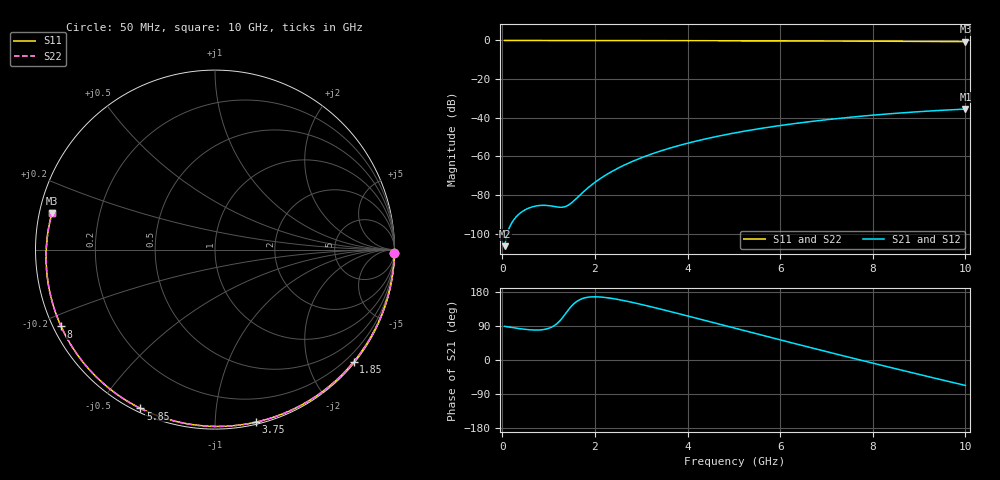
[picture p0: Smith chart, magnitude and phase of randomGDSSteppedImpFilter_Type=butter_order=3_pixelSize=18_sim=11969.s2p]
! freq	dB(S11)	phase(S11)	dB(S12)	phase(S12)
!  dB(S21)	phase(S21)	dB(S22)	phase(S22)
!S-par simulation data
#  GHz  S  DB  R 50
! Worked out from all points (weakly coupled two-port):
!   200 points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, 50 MHz to 10 GHz, reference 50 ohm
!   highest |S21| = -35.49 dB at 10 GHz (marker M1); lowest = -106.4 dB at 50 MHz (marker M2)
!   lowest |S11| = -0.6 dB at 10 GHz (marker M3), VSWR 27.94, Z = 1.81 + j5.49 ohm
!   |S11| at or under -10 dB: nowhere
!   |S22| runs from -0.6 to 0.0 dB; largest |S21 - S12| = 0
!   S11 on the Smith chart (normalised r, x): 50 MHz: open; 1.85 GHz: 0.03, -2.82; 3.75 GHz: 0.02, -1.26; 5.85 GHz: 0.02, -0.64; 8 GHz: 0.02, -0.24; 10 GHz: 0.04, +0.11
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0.05  -0.00 -1.1  -106.37 89.0  -106.37 89.0  -0.00 -1.1
0.8  -0.02 -17.1  -85.34 79.3  -85.34 79.3  -0.02 -17.1
1.2  -0.03 -25.5  -86.14 98.2  -86.14 98.2  -0.03 -25.5
1.65  -0.04 -34.9  -80.57 157.7  -80.57 157.7  -0.04 -34.9
1.7  -0.05 -35.9  -79.43 160.7  -79.43 160.7  -0.05 -35.9
1.75  -0.05 -37.0  -78.33 162.9  -78.33 162.9  -0.05 -37.0
1.85  -0.05 -39.0  -76.22 165.7  -76.22 165.7  -0.05 -39.0
2.15  -0.06 -45.2  -70.87 165.9  -70.87 165.9  -0.06 -45.1
2.5  -0.07 -52.2  -66.02 159.7  -66.02 159.7  -0.07 -52.2
2.9  -0.08 -60.2  -61.64 149.5  -61.64 149.5  -0.08 -60.2
3.4  -0.09 -69.9  -57.29 134.9  -57.29 134.9  -0.09 -69.9
3.75  -0.10 -76.7  -54.76 124.1  -54.76 124.1  -0.10 -76.6
4.4  -0.13 -88.9  -50.84 103.7  -50.84 103.7  -0.13 -88.9
5.05  -0.16 -100.8  -47.67 83.1  -47.67 83.1  -0.16 -100.8
5.85  -0.20 -115.1  -44.51 57.9  -44.51 57.9  -0.20 -115.1
6.7  -0.25 -130.2  -41.81 31.4  -41.81 31.4  -0.25 -130.2
7.35  -0.31 -141.8  -40.09 11.4  -40.09 11.4  -0.31 -141.7
8  -0.37 -153.5  -38.63 -8.2  -38.63 -8.2  -0.37 -153.5
8.35  -0.41 -159.9  -37.94 -18.7  -37.94 -18.7  -0.41 -159.9
9.2  -0.51 -176.2  -36.52 -43.9  -36.52 -43.9  -0.51 -176.1
9.6  -0.56 175.8  -35.97 -55.6  -35.97 -55.6  -0.56 175.8
10  -0.62 167.4  -35.49 -67.1  -35.49 -67.1  -0.62 167.5
